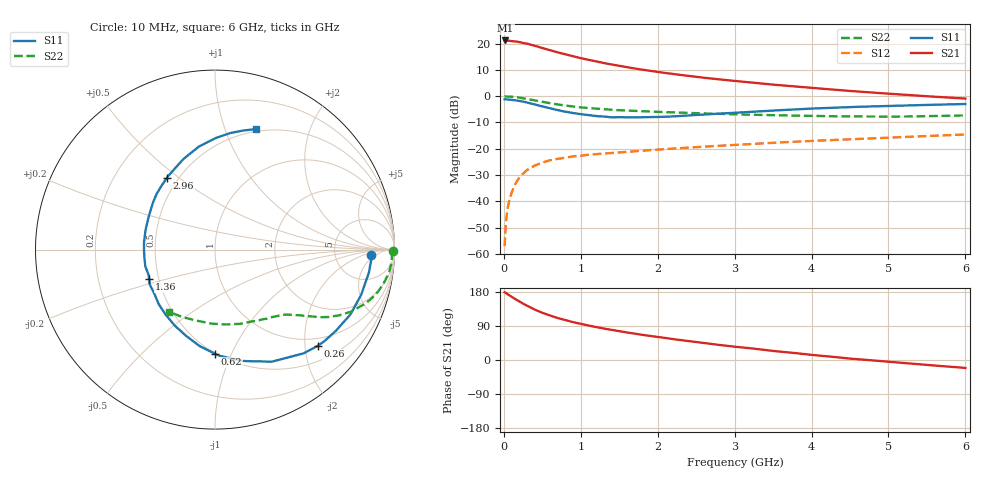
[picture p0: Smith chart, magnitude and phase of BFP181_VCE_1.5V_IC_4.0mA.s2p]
! Infineon Technologies  Discrete & RF Semiconductors
! BFP181
! VCE = 1.5 V,  IC =  4.0 mA
! Common Emitter S-Parameters:  Jan 2016
# GHz  S  MA  R  50
!  f  S11  S21  S12  S22
! GHz  MAG  ANG  MAG  ANG  MAG  ANG  MAG  ANG
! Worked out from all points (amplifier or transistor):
!   210 points, 10 MHz to 6 GHz, reference 50 ohm
!   highest |S21| = 21.2 dB at 20 MHz (marker M1)
!   |S21| within 3 dB of that: start of sweep to 515.2 MHz
!   unconditionally stable (mu >= 1): 1.718 GHz to end of sweep
!   at 185 MHz: K = 0.15, MSG = 26.2 dB, |S12| = -31.7 dB
!   at 1.52 GHz: K = 0.93, MSG = 16.4 dB, |S12| = -21.4 dB
!   at 6 GHz: K = 1.08, MAG = 5.1 dB, |S12| = -14.6 dB
!   S11 on the Smith chart (normalised r, x): 10 MHz: 14, -3; 260 MHz: 0.82, -2.28; 620 MHz: 0.50, -0.87; 1.36 GHz: 0.44, -0.17; 2.96 GHz: 0.43, +0.45; 6 GHz: 0.47, +1.29
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0.01  0.8698 -1.9  11.4 178.8  0.0014 86.5  0.991 -0.6
0.02  0.8725 -3.7  11.49 177.9  0.0027 89.4  0.9858 -1.4
0.06  0.8626 -10.1  11.38 172.1  0.0088 83.4  0.9853 -4.5
0.15  0.8365 -25.6  11.05 160.5  0.0214 75.6  0.9603 -11.0
0.2  0.8114 -33.9  10.73 154.4  0.028 72.2  0.9401 -14.2
0.26  0.7842 -43.2  10.23 147.6  0.0347 66.7  0.909 -17.8
0.3  0.7601 -49.5  9.996 143.5  0.0392 63.9  0.8878 -19.9
0.4  0.6999 -63.2  9.146 133.1  0.0477 57.4  0.8327 -24.6
0.5  0.6387 -76.3  8.247 124.5  0.0546 52.4  0.7814 -28.0
0.62  0.5802 -89.9  7.393 116.0  0.0611 47.8  0.7275 -31.1
0.7  0.5442 -99.1  6.81 110.7  0.0642 45.4  0.6955 -32.8
0.8  0.5063 -108.7  6.285 104.9  0.0677 42.9  0.6621 -34.3
1.02  0.4505 -128.8  5.213 94.3  0.0743 39.2  0.6092 -37.1
1.1  0.4364 -136.0  4.927 90.6  0.0769 38.3  0.5935 -38.0
1.36  0.4017 -156.1  4.11 80.9  0.0821 36.0  0.5568 -40.7
1.66  0.3951 -176.7  3.44 70.8  0.0886 34.7  0.5264 -43.7
2.02  0.4031 162.4  2.862 60.3  0.0966 33.3  0.5022 -47.9
2.96  0.4809 123.9  1.978 36.1  0.1171 29.9  0.4536 -61.6
3.1  0.4931 119.7  1.889 33.1  0.1203 29.3  0.4476 -64.0
4.1  0.5882 96.9  1.401 11.7  0.1428 24.2  0.419 -83.6
5.1  0.6591 81.4  1.09 -6.3  0.1642 18.9  0.409 -106.1
6  0.7102 71.1  0.901 -21.0  0.1864 13.4  0.4314 -126.7
